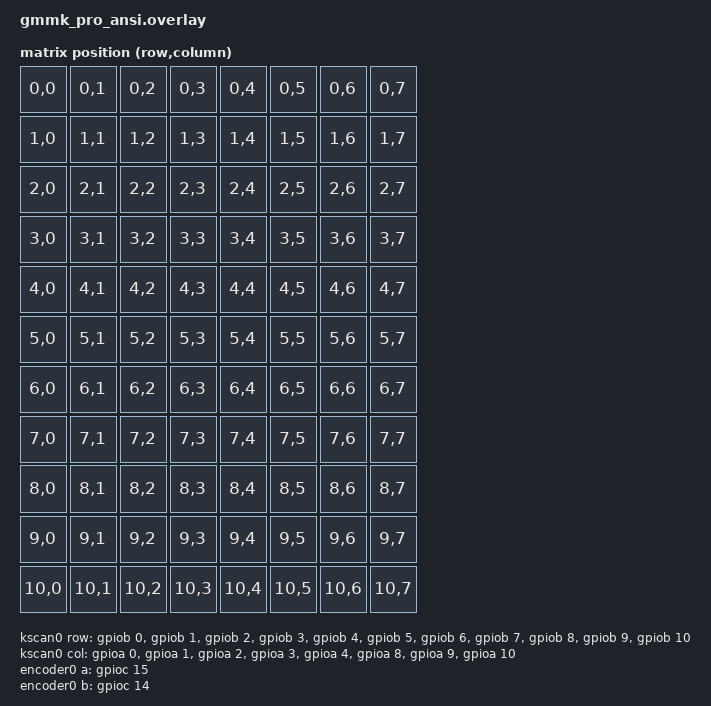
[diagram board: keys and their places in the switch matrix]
#include <dt-bindings/zmk/matrix_transform.h>

/ {
    chosen {
        zmk,kscan = &kscan0;
        zmk,matrix_transform = &default_transform;
    };

    default_transform: keymap_transform_0 {
        compatible = "zmk,matrix-transform";
        rows = <11>;
        columns = <8>;
        map = <
            RC(0,0) RC(0,1) RC(0,2) RC(0,3) RC(0,4) RC(0,5) RC(0,6) RC(0,7)
            RC(1,0) RC(1,1) RC(1,2) RC(1,3) RC(1,4) RC(1,5) RC(1,6) RC(1,7)
            RC(2,0) RC(2,1) RC(2,2) RC(2,3) RC(2,4) RC(2,5) RC(2,6) RC(2,7)
            RC(3,0) RC(3,1) RC(3,2) RC(3,3) RC(3,4) RC(3,5) RC(3,6) RC(3,7)
            RC(4,0) RC(4,1) RC(4,2) RC(4,3) RC(4,4) RC(4,5) RC(4,6) RC(4,7)
            RC(5,0) RC(5,1) RC(5,2) RC(5,3) RC(5,4) RC(5,5) RC(5,6) RC(5,7)
            RC(6,0) RC(6,1) RC(6,2) RC(6,3) RC(6,4) RC(6,5) RC(6,6) RC(6,7)
            RC(7,0) RC(7,1) RC(7,2) RC(7,3) RC(7,4) RC(7,5) RC(7,6) RC(7,7)
            RC(8,0) RC(8,1) RC(8,2) RC(8,3) RC(8,4) RC(8,5) RC(8,6) RC(8,7)
            RC(9,0) RC(9,1) RC(9,2) RC(9,3) RC(9,4) RC(9,5) RC(9,6) RC(9,7)
            RC(10,0) RC(10,1) RC(10,2) RC(10,3) RC(10,4) RC(10,5) RC(10,6) RC(10,7)
        >;
    };

    kscan0: kscan_0 {
        compatible = "zmk,kscan-gpio-matrix";
        label = "KSCAN";
        diode-direction = "col2row"; 

        col-gpios = <
            &gpioa 0 GPIO_ACTIVE_LOW
            &gpioa 1 GPIO_ACTIVE_LOW
            &gpioa 2 GPIO_ACTIVE_LOW
            &gpioa 3 GPIO_ACTIVE_LOW
            &gpioa 4 GPIO_ACTIVE_LOW
            &gpioa 8 GPIO_ACTIVE_LOW
            &gpioa 9 GPIO_ACTIVE_LOW
            &gpioa 10 GPIO_ACTIVE_LOW
        >;

        row-gpios = <
            &gpiob 0 GPIO_ACTIVE_LOW
            &gpiob 1 GPIO_ACTIVE_LOW
            &gpiob 2 GPIO_ACTIVE_LOW
            &gpiob 3 GPIO_ACTIVE_LOW
            &gpiob 4 GPIO_ACTIVE_LOW
            &gpiob 5 GPIO_ACTIVE_LOW
            &gpiob 6 GPIO_ACTIVE_LOW
            &gpiob 7 GPIO_ACTIVE_LOW
            &gpiob 8 GPIO_ACTIVE_LOW
            &gpiob 9 GPIO_ACTIVE_LOW
            &gpiob 10 GPIO_ACTIVE_LOW
        >;
    };

    encoder0: encoder_0 {
        compatible = "alps,ec11";
        label = "ENCODER";
        a-gpios = <&gpioc 15 GPIO_ACTIVE_HIGH>;
        b-gpios = <&gpioc 14 GPIO_ACTIVE_HIGH>;
        steps = <80>; // typischer Wert, ggf. anpassen
        status = "okay";
    };

    sensors {
        compatible = "zmk,keymap-sensors";
        sensors = <&encoder0>;
        triggers-per-rotation = <4>; // Standardwert, ggf. anpassen
    };
};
